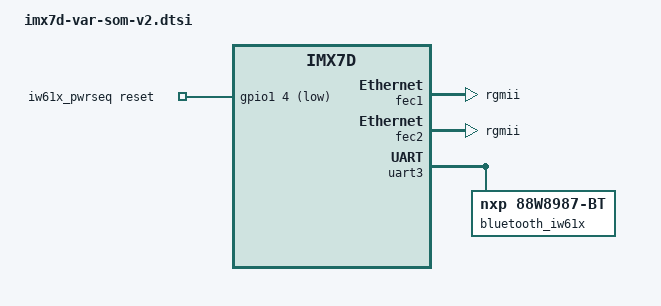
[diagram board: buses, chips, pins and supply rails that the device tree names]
// SPDX-License-Identifier: GPL-2.0+ OR MIT
//
// Copyright (C) 2026 Variscite Ltd.

/ {
	iw61x_pwrseq: iw61x-pwrseq {
		compatible = "mmc-pwrseq-simple";
		post-power-on-delay-ms = <100>;
		power-off-delay-us = <10000>;
		reset-gpios = <&gpio1 4 GPIO_ACTIVE_LOW>;
		status = "okay";
	};
};

&fec1 {
	phy-mode = "rgmii";
};

&fec2 {
	phy-mode = "rgmii";
};

&pinctrl_wlan {
	fsl,pins = <
		MX7D_PAD_LPSR_GPIO1_IO04__GPIO1_IO4	0x09 /* WLAN_EN */
	>;
};

&pinctrl_wlan_sleep {
	fsl,pins = <
		MX7D_PAD_LPSR_GPIO1_IO04__GPIO1_IO4	0x10 /* WLAN_EN */
	>;
};

/* BT */
&uart3 {
	bluetooth_iw61x: bluetooth_iw61x {
		compatible = "nxp,88w8987-bt";
		status = "okay";
	};
};

/* WiFi */
&usdhc2 {
	mmc-pwrseq = <&iw61x_pwrseq>;

	/delete-node/ bcrmf@1;
};
